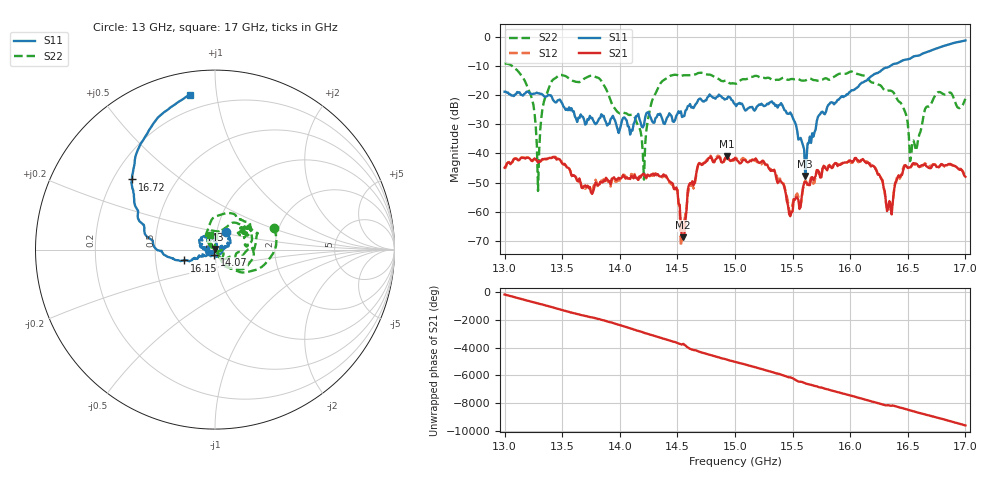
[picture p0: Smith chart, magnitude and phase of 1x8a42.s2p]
!Keysight Technologies,P9374A,MY57211807,A.19.30.04
!Date: Friday, May 08, 2026 14:14:03
!Correction: S11(C  2-Port  )
!S21(C  2-Port  )
!S12(C  2-Port  )
!S22(C  2-Port  )
!S2P File: Measurements: S11, S21, S12, S22:
# Hz S  dB  R 50
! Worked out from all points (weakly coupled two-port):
!   401 points, 13 GHz to 17 GHz, reference 50 ohm
!   highest |S21| = -40.91 dB at 14.93 GHz (marker M1); lowest = -68.8 dB at 14.55 GHz (marker M2)
!   lowest |S11| = -47.7 dB at 15.61 GHz (marker M3), VSWR 1.01, Z = 50.2 + j0.368 ohm
!   |S11| at or under -10 dB: start of sweep to 16.35 GHz
!   |S22| runs from -52.9 to -9.1 dB; largest |S21 - S12| = 0.001
!   S11 on the Smith chart (normalised r, x): 13 GHz: 1.10, +0.22; 14.07 GHz: 0.99, -0.06; 16.15 GHz: 0.70, -0.09; 16.72 GHz: 0.28, +0.34; 17 GHz: 0.12, +0.84
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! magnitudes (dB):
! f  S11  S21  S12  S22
! 13 GHz  -18.8  -44.9  -44.9  -9.2
! 13.21 GHz  -19.0  -41.5  -41.4  -18.3
! 13.29 GHz  -19.3  -43.1  -43.2  -52.9
! 13.41 GHz  -20.6  -41.5  -41.5  -15.1
! 13.67 GHz  -27.3  -51.9  -51.7  -15.0
! 14.07 GHz  -30.6  -48.7  -48.3  -26.6
! 14.21 GHz  -30.3  -47.0  -47.1  -49.0
! 14.34 GHz  -26.7  -47.8  -48.0  -16.8
! 14.48 GHz  -28.5  -52.3  -52.8  -13.0
! 14.55 GHz  -27.2  -68.8  -63.0  -13.2
! 14.69 GHz  -21.3  -43.3  -43.1  -12.3
! 14.93 GHz  -21.2  -40.9  -41.6  -15.1
! 15 GHz  -23.0  -41.5  -41.5  -16.0
! 15.26 GHz  -23.6  -43.6  -43.8  -14.1
! 15.48 GHz  -25.9  -61.6  -60.4  -14.5
! 15.61 GHz  -47.7  -49.7  -49.3  -14.9
! 15.67 GHz  -33.1  -48.1  -48.2  -14.6
! 16.15 GHz  -14.7  -43.1  -42.8  -14.0
! 16.34 GHz  -10.2  -56.4  -58.5  -18.4
! 16.54 GHz  -6.9  -43.6  -43.8  -35.9
! 16.72 GHz  -4.4  -43.8  -43.7  -21.4
! 17 GHz  -1.2  -48.0  -47.7  -21.2
